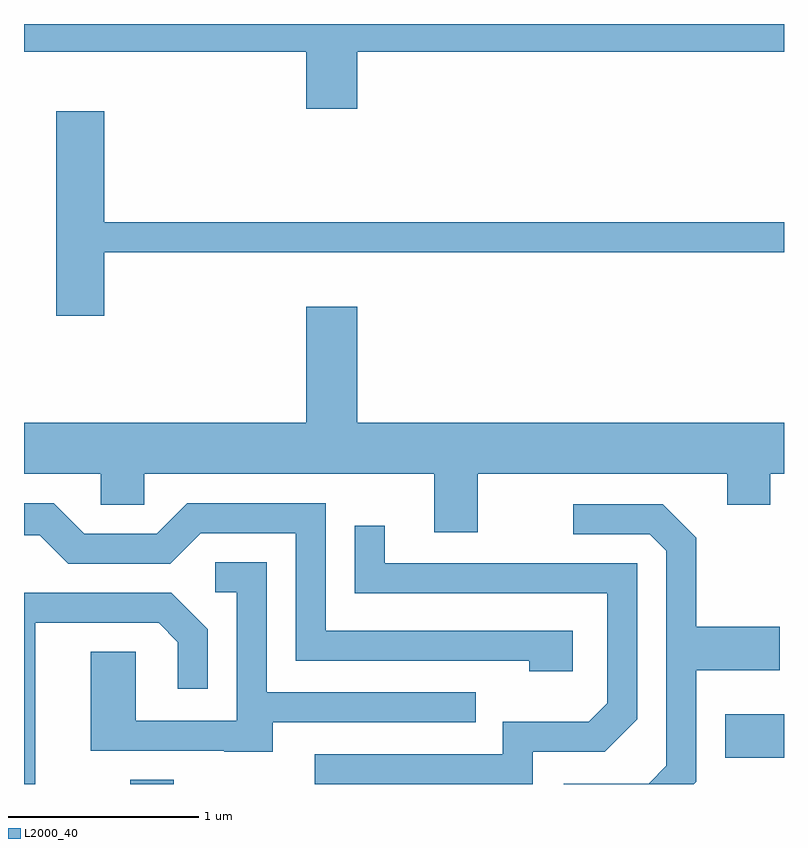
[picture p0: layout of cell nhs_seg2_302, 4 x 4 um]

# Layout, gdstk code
import gdstk
lib = gdstk.Library(unit=1e-6, precision=1e-09)
def R(c, l, rs):  # rectangles x0, y0, x1, y1
    for r in rs: c.add(gdstk.rectangle(r[:2], r[2:], *l))
def P(c, l, *ps):  # polygons
    for p in ps: c.add(gdstk.Polygon(p, *l))
L2000_40 = (2000, 40)

nhs_seg2_302 = lib.new_cell('nhs_seg2_302')
R(nhs_seg2_302, L2000_40, [(194.171,1037.802,194.399,1037.824), (197.301,1037.941,197.611,1038.169)])
P(nhs_seg2_302, L2000_40, [(195.364,1041.656),(197.611,1041.656),(197.611,1041.802),(193.611,1041.802),(193.611,1041.656),(195.096,1041.656),(195.096,1041.356),(195.364,1041.356)],
  [(194.034,1040.601),(197.611,1040.601),(197.611,1040.759),(194.034,1040.759),(194.034,1041.344),(193.781,1041.344),(193.781,1040.266),(194.034,1040.266)],
  [(195.999,1039.436),(197.311,1039.436),(197.311,1039.271),(197.539,1039.271),(197.539,1039.436),(197.611,1039.436),(197.611,1039.704),(195.364,1039.704),(195.364,1040.314),(195.096,1040.314),(195.096,1039.704),(193.611,1039.704),(193.611,1039.436),(194.016,1039.436),(194.016,1039.271),(194.244,1039.271),(194.244,1039.436),(195.771,1039.436),(195.771,1039.126),(195.999,1039.126)],
  [(196.499,1038.609),(195.199,1038.609),(195.199,1039.279),(194.469,1039.279),(194.309,1039.119),(193.927,1039.119),(193.767,1039.279),(193.611,1039.279),(193.611,1039.111),(193.694,1039.111),(193.844,1038.961),(194.382,1038.961),(194.542,1039.121),(195.041,1039.121),(195.041,1038.451),(196.271,1038.451),(196.271,1038.396),(196.499,1038.396)],
  [(197.149,1037.814),(197.149,1038.401),(197.589,1038.401),(197.589,1038.629),(197.149,1038.629),(197.149,1039.097),(196.972,1039.274),(196.503,1039.274),(196.503,1039.116),(196.904,1039.116),(196.991,1039.029),(196.991,1037.897),(196.899,1037.804),(196.453,1037.804),(196.453,1037.802),(197.137,1037.802)],
  [(196.289,1037.971),(196.667,1037.971),(196.839,1038.144),(196.839,1038.964),(195.509,1038.964),(195.509,1039.162),(195.351,1039.162),(195.351,1038.806),(196.681,1038.806),(196.681,1038.227),(196.584,1038.129),(196.131,1038.129),(196.131,1037.959),(195.141,1037.959),(195.141,1037.802),(196.289,1037.802)],
  [(194.919,1038.126),(195.988,1038.126),(195.988,1038.284),(194.889,1038.284),(194.889,1038.969),(194.618,1038.969),(194.618,1038.811),(194.731,1038.811),(194.731,1038.134),(194.199,1038.134),(194.199,1038.499),(193.961,1038.499),(193.961,1037.976),(194.665,1037.976),(194.665,1037.971),(194.919,1037.971)],
  [(193.669,1038.651),(194.319,1038.651),(194.421,1038.549),(194.421,1038.303),(194.579,1038.303),(194.579,1038.617),(194.387,1038.809),(193.611,1038.809),(193.611,1037.802),(193.669,1037.802)])

lib.write_gds('nhs_seg2_302.gds')
